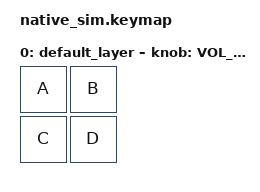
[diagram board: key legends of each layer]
#include <behaviors.dtsi>
#include <dt-bindings/zmk/keys.h>
#include <dt-bindings/zmk/kscan_mock.h>

/ {
    keymap {
        compatible = "zmk,keymap";

        default_layer {
            bindings = <
                &kp A &kp B
                &kp C &kp D
            >;
            sensor-bindings = <&inc_dec_kp C_VOL_UP C_VOL_DN>;
        };
    };

    mock_encoder: mock_encoder {
        compatible = "zmk,sensor-encoder-mock";
        status = "okay";
        event-startup-delay = <60000>;
        event-period = <10>;
        events = <18>;
    };

    sensors: sensors {
        compatible = "zmk,keymap-sensors";
        sensors = <&mock_encoder>;
        triggers-per-rotation = <20>;
    };
};

&kscan {
    /delete-property/ exit-after;
    events = <
        ZMK_MOCK_PRESS(1,1,5000)
        ZMK_MOCK_RELEASE(1,1,10)
    >;
};
